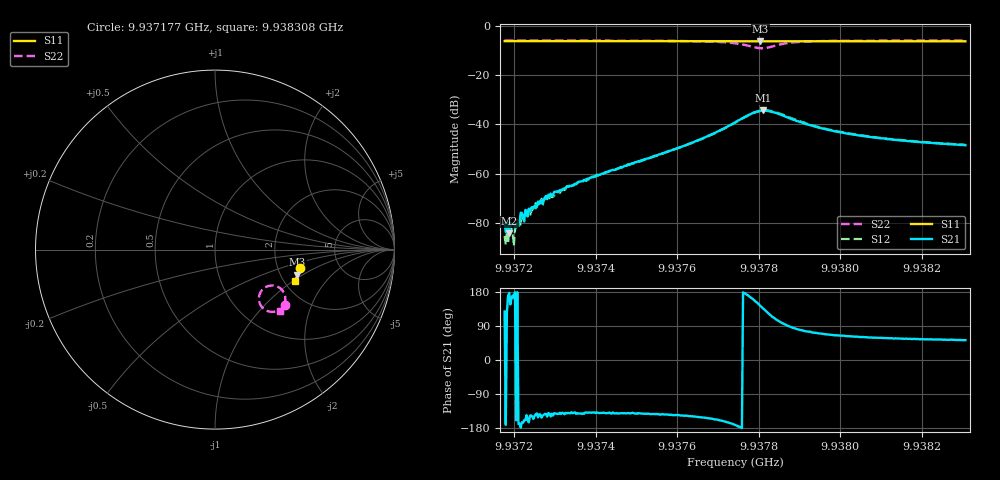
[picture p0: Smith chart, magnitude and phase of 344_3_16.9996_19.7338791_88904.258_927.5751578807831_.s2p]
#  HZ  S  RI  R  50.00
! Rohde & Schwarz Vector Network Analyzer
! Rohde-Schwarz,ZNB20-2Port,1311601062101988,3.16
! Created: UTC 3/20/2024, 11:07:27 PM
! freq[Hz]  re:S11  im:S11  re:S21  im:S21  re:S12  im:S12  re:S22  im:S22
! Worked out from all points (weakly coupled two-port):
!   401 points, 9.937177 GHz to 9.938308 GHz, reference 50 ohm
!   highest |S21| = -34.37 dB at 9.93781 GHz (marker M1); lowest = -84.1 dB at 9.937188 GHz (marker M2)
!   lowest |S11| = -6.4 dB at 9.937804 GHz (marker M3), VSWR 2.84, Z = 123 - j44.8 ohm
!   |S11| at or under -10 dB: nowhere
!   |S22| runs from -9.2 to -6.0 dB; largest |S21 - S12| = 0.00093
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9.9371768e9  0.4735 -0.0999  -6.1e-05 7.83e-05  -2.68e-05 4.87e-05  0.3925 -0.3079
9.9371882e9  0.4734 -0.1005  -6.21e-05 3.32e-06  -6.32e-05 1.28e-05  0.3918 -0.3082
9.9372079e9  0.473 -0.1022  -8.5e-05 1.63e-06  -0.000109 -4.44e-05  0.3907 -0.3099
9.9372221e9  0.4726 -0.1029  -0.000138 -3.52e-05  -0.00012 -2.43e-05  0.3898 -0.3109
9.9372277e9  0.4726 -0.1034  -0.000173 -6.71e-05  -0.000147 -4.26e-05  0.3894 -0.3112
9.9372419e9  0.4723 -0.1042  -0.00017 -0.000113  -0.00015 -8.11e-05  0.3885 -0.3122
9.9372532e9  0.4722 -0.105  -0.000161 -0.00012  -0.000218 -0.000136  0.3878 -0.3129
9.9372843e9  0.4714 -0.1072  -0.00029 -0.000244  -0.000257 -0.000189  0.3856 -0.3149
9.9373267e9  0.4706 -0.1101  -0.000397 -0.00034  -0.000395 -0.000301  0.3824 -0.318
9.9373662e9  0.4699 -0.1127  -0.000562 -0.000434  -0.000515 -0.000431  0.3796 -0.3208
9.9375556e9  0.4657 -0.1252  -0.00198 -0.0015  -0.00195 -0.00144  0.3581 -0.3363
9.9376659e9  0.463 -0.1326  -0.00472 -0.00251  -0.0047 -0.00248  0.3301 -0.3462
9.9377422e9  0.4604 -0.1377  -0.0108 -0.00173  -0.0106 -0.00174  0.2806 -0.3366
9.9377818e9  0.4589 -0.1397  -0.0158 0.00442  -0.0158 0.00399  0.2459 -0.2869
9.9378044e9  0.4581 -0.1403  -0.015 0.0113  -0.0155 0.0109  0.2556 -0.2343
9.93781e9  0.4581 -0.1404  -0.0141 0.0129  -0.0145 0.0126  0.265 -0.2223
9.9378298e9  0.4583 -0.1412  -0.00851 0.0159  -0.00916 0.0164  0.3104 -0.2003
9.9378637e9  0.4583 -0.1434  -0.00111 0.0146  -0.00121 0.0152  0.3703 -0.2218
9.9379316e9  0.4572 -0.1485  0.00284 0.00902  0.00301 0.00915  0.3919 -0.2768
9.9380136e9  0.4552 -0.154  0.003 0.00591  0.00311 0.00598  0.3852 -0.3059
9.938121e9  0.4524 -0.1611  0.0027 0.00422  0.00279 0.00425  0.3751 -0.3242
9.9383075e9  0.4472 -0.1729  0.00231 0.003  0.00238 0.00305  0.3609 -0.3417
